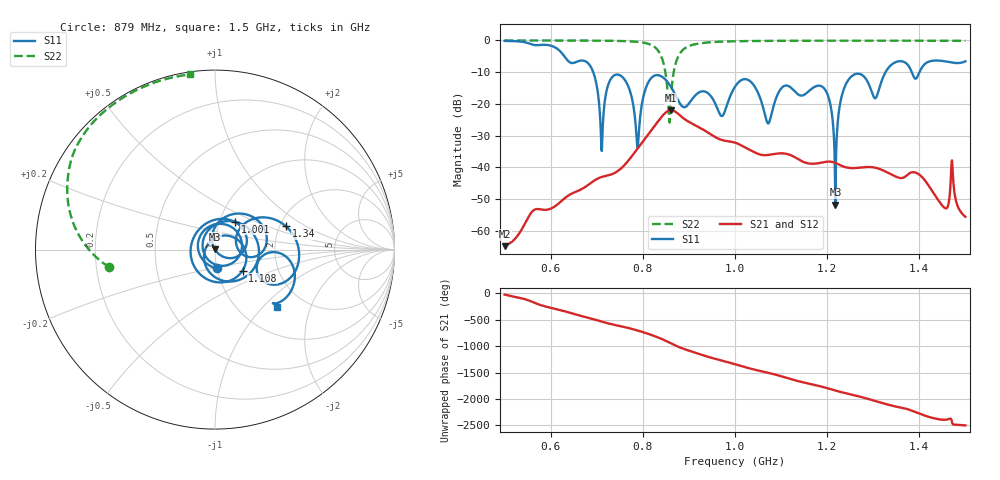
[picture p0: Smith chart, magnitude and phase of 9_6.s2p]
! TOUCHSTONE file generated by CST MICROWAVE STUDIO
! Date and time: Tue Nov 17 07:11:02 2020
! Project name: Scenario_1_Planar_Body_Tissue_Out_of_Line.cst
! Header version: 2018
! Port assignment regex: !\s*Touchstone port\s*([0-9]+)\s*=\s*(CST MWS port|CST DS port)\s*([0-9]+|Zmin|Zmax)\s*\(\"(.*)\"\)(\s*mode\s*([0-9]+))?.*
! Touchstone port assignment:
! Touchstone port 1 = CST MWS port 1 ("")
! Touchstone port 2 = CST MWS port 2 ("")
# GHz S DB R 50
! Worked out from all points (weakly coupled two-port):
!   1003 points, 500 MHz to 1.5 GHz, reference 50 ohm
!   highest |S21| = -22.05 dB at 861 MHz (marker M1); lowest = -64.9 dB at 500 MHz (marker M2)
!   lowest |S11| = -51.9 dB at 1.218 GHz (marker M3), VSWR 1.01, Z = 49.9 + j0.23 ohm
!   |S11| at or under -10 dB: 692.3 MHz to 1.327 GHz (634.5 MHz wide, 62.8 % of centre); 1.384 GHz to 1.4 GHz (16.8 MHz wide, 1.21 % of centre)
!   |S22| runs from -25.9 to 0.0 dB; largest |S21 - S12| = 0.002
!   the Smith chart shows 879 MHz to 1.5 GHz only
!   S11 on the Smith chart (normalised r, x): 879 MHz: 1.01, -0.21; 1.001 GHz: 1.18, +0.38; 1.108 GHz: 1.32, -0.32; 1.34 GHz: 2.17, +0.68; 1.5 GHz: 1.47, -1.20
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0.5  -0.15 -121.7  -64.91 -23.0  -64.90 -23.0  -0.01 151.2
0.667  -6.34 147.5  -46.91 -69.6  -46.91 -69.6  -0.04 138.4
0.694  -10.72 92.4  -44.27 -133.2  -44.27 -133.2  -0.06 135.5
0.71  -34.11 -5.4  -43.10 -174.3  -43.10 -174.3  -0.08 133.6
0.747  -10.81 145.1  -41.06 107.3  -41.06 107.3  -0.16 128.0
0.788  -33.76 120.0  -34.24 18.6  -34.24 18.6  -0.45 117.6
0.834  -10.98 84.9  -25.35 -117.8  -25.35 -117.8  -3.40 83.4
0.861  -14.65 -5.2  -22.05 133.0  -22.05 133.0  -17.99 -120.3
0.879  -19.51 -82.5  -23.42 61.1  -23.45 61.1  -4.47 -170.6
1  -14.61 57.8  -32.24 97.8  -32.23 97.8  -0.26 140.2
1.001  -14.39 54.5  -32.29 95.2  -32.28 95.2  -0.26 140.1
1.072  -26.20 145.0  -36.13 -61.9  -36.13 -61.9  -0.14 132.2
1.108  -14.30 -37.2  -35.68 -148.5  -35.68 -148.5  -0.12 129.0
1.167  -15.18 79.7  -38.90 79.3  -38.90 79.3  -0.10 124.2
1.2  -16.75 -10.4  -38.25 6.3  -38.25 6.3  -0.09 121.7
1.218  -51.86 115.5  -38.67 -40.4  -38.67 -40.4  -0.09 120.3
1.246  -12.47 57.7  -40.18 -101.4  -40.18 -101.4  -0.09 118.2
1.334  -8.46 25.9  -41.89 49.8  -41.89 49.8  -0.09 111.5
1.34  -7.61 18.1  -42.33 36.4  -42.33 36.4  -0.09 111.1
1.456  -6.60 -38.1  -52.91 128.8  -52.88 128.7  -0.11 101.8
1.472  -7.00 -42.3  -40.28 56.5  -39.82 51.3  -0.11 100.4
1.5  -6.59 -42.7  -55.64 20.5  -55.64 20.5  -0.13 98.0
